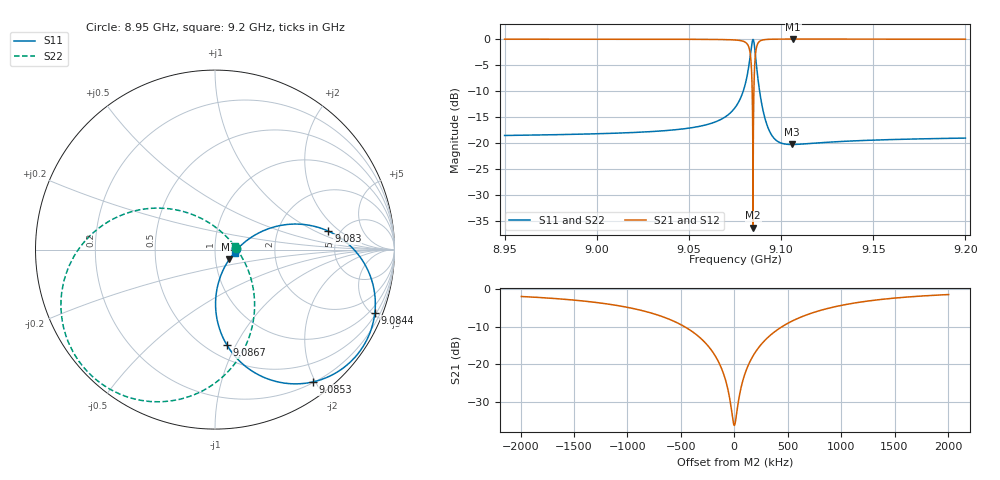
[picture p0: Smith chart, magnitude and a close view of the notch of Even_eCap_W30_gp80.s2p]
! Sonnet Data File
! From: emgraph Version : 16.52
! From Project: Resonator2_extremeCap
! Data is De-embedded
! Data File Written: 10/11/2017 17:55:29
!< HDATE 10/10/2017 20:37:37
!< MDATE 10/10/2017 20:37:37
!< PARAMS
!< Pwid1 = 2000.0
!< Pwid2 = 2000.0
!< Air_gap = 18.0
!< Width = 30.0
!< Gap = 80.0
!< END PARAMS
# GHZ S MA R 50.70000
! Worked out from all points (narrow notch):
!   1844 points, 8.95 GHz to 9.2 GHz, reference 50.7 ohm
!   highest |S21| = -0.04 dB at 9.1066 GHz (marker M1); lowest = -36.3 dB at 9.0848 GHz (marker M2)
!   notch at M2: 36.3 dB deep, 337 kHz wide at half that depth
!   lowest |S11| = -20.3 dB at 9.1058 GHz (marker M3), VSWR 1.21, Z = 59 - j6.53 ohm
!   |S11| at or under -10 dB: start of sweep to 9.0795 GHz; 9.0883 GHz to end of sweep
!   |S22| runs from -20.3 to -0.1 dB; largest |S21 - S12| = 0
!   S11 on the Smith chart (normalised r, x): 8.95 GHz: 1.27, +0.00; 9.083 GHz: 4.05, +1.41; 9.0844 GHz: 0.62, -5.19; 9.0853 GHz: 0.21, -1.96; 9.0867 GHz: 0.62, -0.92; 9.2 GHz: 1.24, -0.05
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8.95  0.1176 0.5  0.9931 -87.9  0.9931 -87.9  0.1176 3.6
!< P1 F=8.95 Eeff=(6.44502592 -2.9711e-5) Z0=(50.6183818 1.16783e-4) R=0.0 C=0.0
!< P2 F=8.95 Eeff=(6.44502592 -2.9711e-5) Z0=(50.6183818 1.16783e-4) R=0.0 C=0.0
8.9918  0.1211 1.5  0.9926 -88.6  0.9926 -88.6  0.1211 1.3
9.0334  0.1295 4.3  0.9916 -89.7  0.9916 -89.7  0.1295 -3.7
9.075  0.2176 19.0  0.9758 -96.3  0.9758 -96.3  0.2173 -31.8
9.080384  0.3564 20.9  0.9331 -105.2  0.9331 -105.2  0.3557 -51.8
9.083045  0.6406 9.2  0.7616 -124.6  0.7616 -124.6  0.6389 -79.6
9.083988  0.859 -7.6  0.4929 -144.0  0.4929 -144.0  0.8566 -103.2
9.084448  0.9575 -21.5  0.2415 -157.7  0.2415 -157.7  0.9547 -120.7
9.084665  0.982 -29.3  0.09411 -160.6  0.09411 -160.6  0.9791 -130.2
9.084793  0.9861 -34.1  0.01526 -85.4  0.01526 -85.4  0.9832 -136.1
9.08488  0.984 -37.4  0.06526 -12.4  0.06526 -12.4  0.9811 -140.1
9.084966  0.978 -40.7  0.1272 -9.4  0.1272 -9.4  0.975 -144.1
9.085321  0.9166 -53.6  0.3673 -19.1  0.3673 -19.1  0.9137 -160.0
9.08601  0.7186 -72.3  0.6837 -39.5  0.6837 -39.5  0.7162 175.2
9.086736  0.536 -82.9  0.8385 -53.2  0.8385 -53.2  0.5341 157.8
9.089  0.265 -89.0  0.9629 -70.8  0.9629 -70.8  0.2639 128.0
9.0934  0.1332 -72.8  0.9907 -79.9  0.9907 -79.9  0.1326 93.2
9.1058  0.09633 -34.6  0.9953 -85.3  0.9953 -85.3  0.09621 44.1
9.1066  0.09636 -33.4  0.9953 -85.4  0.9953 -85.4  0.09624 42.5
9.116709  0.09881 -23.2  0.9951 -86.7  0.9951 -86.7  0.09876 29.9
9.1584  0.1073 -12.3  0.9942 -88.4  0.9942 -88.4  0.1073 15.4
9.2  0.111 -10.0  0.9938 -89.2  0.9938 -89.2  0.111 11.5
